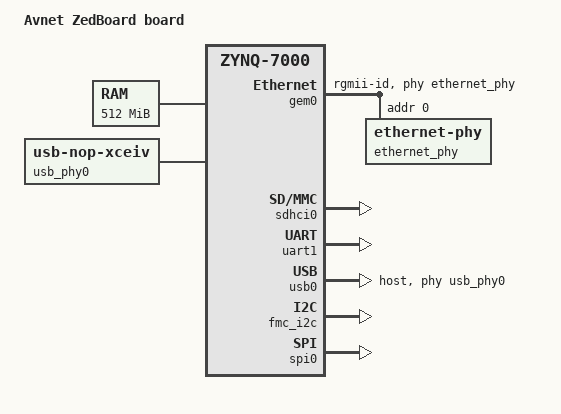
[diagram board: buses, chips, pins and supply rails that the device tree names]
// SPDX-License-Identifier: GPL-2.0
/*
 *  Copyright (C) 2011 - 2014 Xilinx
 *  Copyright (C) 2012 National Instruments Corp.
 */
/dts-v1/;
#include "zynq-7000.dtsi"
#include <dt-bindings/interrupt-controller/irq.h>

/ {
	model = "Avnet ZedBoard board";
	compatible = "avnet,zynq-zed", "xlnx,zynq-zed", "xlnx,zynq-7000";

	aliases {
		ethernet0 = &gem0;
		serial0 = &uart1;
		mmc0 = &sdhci0;
	};

	memory@0 {
		device_type = "memory";
		reg = <0x0 0x20000000>;
	};

	chosen {
		bootargs = "";
		stdout-path = "serial0:115200n8";
	};

	usb_phy0: phy0 {
		compatible = "usb-nop-xceiv";
		#phy-cells = <0>;
	};
};

&clkc {
	ps-clk-frequency = <33333333>;
};

&gem0 {
	status = "okay";
	phy-mode = "rgmii-id";
	phy-handle = <&ethernet_phy>;

	ethernet_phy: ethernet-phy@0 {
		reg = <0>;
		device_type = "ethernet-phy";
	};
};

&sdhci0 {
	status = "okay";
};

&uart1 {
	status = "okay";
};

&usb0 {
	status = "okay";
	dr_mode = "host";
	usb-phy = <&usb_phy0>;
};

&amba {
	 fmc_i2c: i2c@41620000 {
		compatible = "xlnx,axi-iic-1.01.b", "xlnx,xps-iic-2.00.a";
		reg = <0x41620000 0x10000>;
		interrupt-parent = <&intc>;
		interrupts = <0 55 IRQ_TYPE_LEVEL_HIGH>;
		clocks = <&clkc 15>;
		clock-names = "pclk";

		#size-cells = <0>;
		#address-cells = <1>;
	};

	rx_dma: rx-dmac@44a30000 {
		compatible = "adi,axi-dmac-1.00.a";
		reg = <0x7c400000 0x1000>;
		#dma-cells = <1>;
		interrupts = <0 57 IRQ_TYPE_LEVEL_HIGH>;
		clocks = <&clkc 16>;

		adi,channels {
			#size-cells = <0>;
			#address-cells = <1>;

			dma-channel@0 {
				reg = <0>;
				adi,source-bus-width = <64>;
				adi,source-bus-type = <2>;
				adi,destination-bus-width = <64>;
				adi,destination-bus-type = <0>;
			};
                 };
	};

	cf_ad9467_core_0: cf-ad9467-core-lpc@44a00000 {
		compatible = "adi,axi-adc-10.0.a";
		reg = <0x7c420000 0x10000>;
		dmas = <&rx_dma 0>;
		dma-names = "rx";
		#io-backend-cells = <0>;
		clocks = <&clkc 15>;
	};
};

&spi0 {
	status = "okay";
};


#define fmc_spi spi0
//#include "adi-ad9467-fmc-250ebz.dtsi"
#include "adi-fmcomms1.dtsi"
